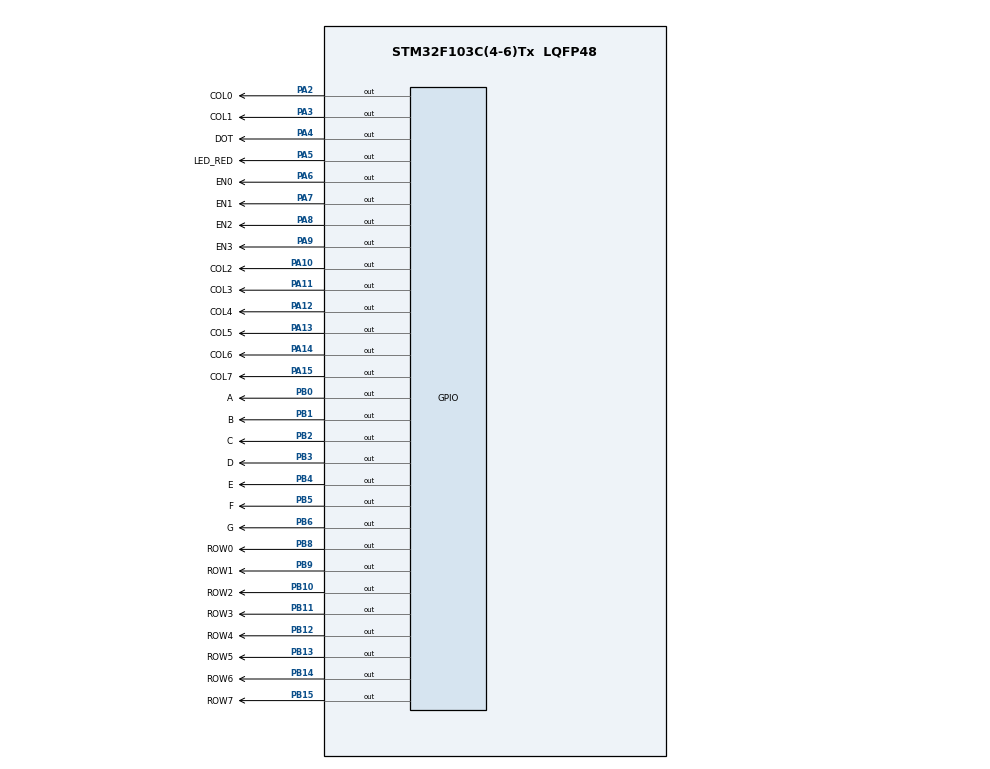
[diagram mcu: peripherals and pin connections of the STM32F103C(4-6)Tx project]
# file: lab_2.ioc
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Mcu.Family=STM32F1
Mcu.Name=STM32F103C(4-6)Tx
Mcu.Package=LQFP48
NVIC.PriorityGroup=NVIC_PRIORITYGROUP_4
NVIC.TIM2_IRQn=true\:0\:0\:false\:false\:true\:true\:true
PA10.GPIO_Label=COL2
PA10.Signal=GPIO_Output
PA11.GPIO_Label=COL3
PA11.Signal=GPIO_Output
PA12.GPIO_Label=COL4
PA12.Signal=GPIO_Output
PA13.GPIO_Label=COL5
PA13.Signal=GPIO_Output
PA14.GPIO_Label=COL6
PA14.Signal=GPIO_Output
PA15.GPIO_Label=COL7
PA15.Signal=GPIO_Output
PA2.GPIO_Label=COL0
PA2.Signal=GPIO_Output
PA3.GPIO_Label=COL1
PA3.Signal=GPIO_Output
PA4.GPIO_Label=DOT
PA4.Signal=GPIO_Output
PA5.GPIO_Label=LED_RED
PA5.Signal=GPIO_Output
PA6.GPIO_Label=EN0
PA6.Signal=GPIO_Output
PA7.GPIO_Label=EN1
PA7.Signal=GPIO_Output
PA8.GPIO_Label=EN2
PA8.Signal=GPIO_Output
PA9.GPIO_Label=EN3
PA9.Signal=GPIO_Output
PB0.GPIO_Label=A
PB0.Signal=GPIO_Output
PB1.GPIO_Label=B
PB1.Signal=GPIO_Output
PB10.GPIO_Label=ROW2
PB10.Signal=GPIO_Output
PB11.GPIO_Label=ROW3
PB11.Signal=GPIO_Output
PB12.GPIO_Label=ROW4
PB12.Signal=GPIO_Output
PB13.GPIO_Label=ROW5
PB13.Signal=GPIO_Output
PB14.GPIO_Label=ROW6
PB14.Signal=GPIO_Output
PB15.GPIO_Label=ROW7
PB15.Signal=GPIO_Output
PB2.GPIO_Label=C
PB2.Signal=GPIO_Output
PB3.GPIO_Label=D
PB3.Signal=GPIO_Output
PB4.GPIO_Label=E
PB4.Signal=GPIO_Output
PB5.GPIO_Label=F
PB5.Signal=GPIO_Output
PB6.GPIO_Label=G
PB6.Signal=GPIO_Output
PB8.GPIO_Label=ROW0
PB8.Signal=GPIO_Output
PB9.GPIO_Label=ROW1
PB9.Signal=GPIO_Output
ProjectManager.HeapSize=0x200
ProjectManager.StackSize=0x400
ProjectManager.TargetToolchain=STM32CubeIDE
RCC.APB1Freq_Value=8000000
RCC.APB2Freq_Value=8000000
TIM2.Period=9
TIM2.Prescaler=7999
VP_SYS_VS_ND.Mode=No_Debug
VP_TIM2_VS_ClockSourceINT.Mode=Internal
board=custom

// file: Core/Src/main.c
/* USER CODE BEGIN Header */
/**
  ******************************************************************************
  * @file           : main.c
  * @brief          : Main program body
  ******************************************************************************
  * @attention
  *
  * <h2><center>&copy; Copyright (c) 2023 STMicroelectronics.
  * All rights reserved.</center></h2>
  *
  * This software component is licensed by ST under BSD 3-Clause license,
  * the "License"; You may not use this file except in compliance with the
  * License. You may obtain a copy of the License at:
  *                        opensource.org/licenses/BSD-3-Clause
  *
  ******************************************************************************
  */
/* USER CODE END Header */
#include "main.h"

/* USER CODE BEGIN Includes */
#include "timer.h"
#include "led7seg.h"
/* USER CODE END Includes */

/* USER CODE BEGIN PD */

//#define DEBUG_LED

/* USER CODE END PD */

TIM_HandleTypeDef htim2;

void SystemClock_Config(void);
static void MX_GPIO_Init(void);
static void MX_TIM2_Init(void);

int main(void)
{

  /* MCU Configuration--------------------------------------------------------*/

  /* Reset of all peripherals, Initializes the Flash interface and the Systick. */
  HAL_Init();

  /* Configure the system clock */
  SystemClock_Config();

  /* Initialize all configured peripherals */
  MX_GPIO_Init();
  MX_TIM2_Init();
  /* USER CODE BEGIN 2 */
  HAL_TIM_Base_Start_IT(&htim2);
  /* USER CODE END 2 */

  /* Infinite loop */
  /* USER CODE BEGIN WHILE */
#ifdef DEBUG_LED
  HAL_GPIO_WritePin(LED_RED_GPIO_Port, LED_RED_Pin, RESET);
#endif
  display7SEG(10);
  set_timer(2, 0);
  int led = 0;
  HAL_GPIO_WritePin(EN0_GPIO_Port, EN0_Pin, SET);
  HAL_GPIO_WritePin(EN1_GPIO_Port, EN1_Pin, SET);
  while (1)
  {
#ifdef DEBUG_LED
	  if (get_flag(0))
	  {
		  set_timer(100, 0);
		  HAL_GPIO_TogglePin(LED_RED_GPIO_Port, LED_RED_Pin);
	  }
#endif
	  if (get_flag(0))
	  {
		  switch (led)
		  {
		  case 0:
			  HAL_GPIO_WritePin(EN0_GPIO_Port, EN0_Pin, RESET);
			  HAL_GPIO_WritePin(EN1_GPIO_Port, EN1_Pin, SET);
			  display7SEG(1);
			  set_timer(50, 0);
			  led = 1;
			  break;
		  case 1:
			  HAL_GPIO_WritePin(EN0_GPIO_Port, EN0_Pin, SET);
			  HAL_GPIO_WritePin(EN1_GPIO_Port, EN1_Pin, RESET);
			  display7SEG(2);
			  set_timer(50, 0);
			  led = 0;
			  break;
		  default:
			  HAL_GPIO_WritePin(EN0_GPIO_Port, EN0_Pin, SET);
			  HAL_GPIO_WritePin(EN1_GPIO_Port, EN1_Pin, SET);
			  set_timer(50, 0);
			  led = 0;
			  break;
		  }
	  }
    /* USER CODE END WHILE */

  }
}

void SystemClock_Config(void)
{
  RCC_OscInitTypeDef RCC_OscInitStruct = {0};
  RCC_ClkInitTypeDef RCC_ClkInitStruct = {0};

  /** Initializes the RCC Oscillators according to the specified parameters
  * in the RCC_OscInitTypeDef structure.
  */
  RCC_OscInitStruct.OscillatorType = RCC_OSCILLATORTYPE_HSI;
  RCC_OscInitStruct.HSIState = RCC_HSI_ON;
  RCC_OscInitStruct.HSICalibrationValue = RCC_HSICALIBRATION_DEFAULT;
  RCC_OscInitStruct.PLL.PLLState = RCC_PLL_NONE;
  if (HAL_RCC_OscConfig(&RCC_OscInitStruct) != HAL_OK)
  {
    Error_Handler();
  }
  /** Initializes the CPU, AHB and APB buses clocks
  */
  RCC_ClkInitStruct.ClockType = RCC_CLOCKTYPE_HCLK|RCC_CLOCKTYPE_SYSCLK
                              |RCC_CLOCKTYPE_PCLK1|RCC_CLOCKTYPE_PCLK2;
  RCC_ClkInitStruct.SYSCLKSource = RCC_SYSCLKSOURCE_HSI;
  RCC_ClkInitStruct.AHBCLKDivider = RCC_SYSCLK_DIV1;
  RCC_ClkInitStruct.APB1CLKDivider = RCC_HCLK_DIV1;
  RCC_ClkInitStruct.APB2CLKDivider = RCC_HCLK_DIV1;

  if (HAL_RCC_ClockConfig(&RCC_ClkInitStruct, FLASH_LATENCY_0) != HAL_OK)
  {
    Error_Handler();
  }
}

static void MX_TIM2_Init(void)
{

  TIM_ClockConfigTypeDef sClockSourceConfig = {0};
  TIM_MasterConfigTypeDef sMasterConfig = {0};

  htim2.Instance = TIM2;
  htim2.Init.Prescaler = 7999;
  htim2.Init.CounterMode = TIM_COUNTERMODE_UP;
  htim2.Init.Period = 9;
  htim2.Init.ClockDivision = TIM_CLOCKDIVISION_DIV1;
  htim2.Init.AutoReloadPreload = TIM_AUTORELOAD_PRELOAD_DISABLE;
  if (HAL_TIM_Base_Init(&htim2) != HAL_OK)
  {
    Error_Handler();
  }
  sClockSourceConfig.ClockSource = TIM_CLOCKSOURCE_INTERNAL;
  if (HAL_TIM_ConfigClockSource(&htim2, &sClockSourceConfig) != HAL_OK)
  {
    Error_Handler();
  }
  sMasterConfig.MasterOutputTrigger = TIM_TRGO_RESET;
  sMasterConfig.MasterSlaveMode = TIM_MASTERSLAVEMODE_DISABLE;
  if (HAL_TIMEx_MasterConfigSynchronization(&htim2, &sMasterConfig) != HAL_OK)
  {
    Error_Handler();
  }

}

static void MX_GPIO_Init(void)
{
  GPIO_InitTypeDef GPIO_InitStruct = {0};

  /* GPIO Ports Clock Enable */
  __HAL_RCC_GPIOA_CLK_ENABLE();
  __HAL_RCC_GPIOB_CLK_ENABLE();

  /*Configure GPIO pin Output Level */
  HAL_GPIO_WritePin(GPIOA, LED_RED_Pin|EN0_Pin|EN1_Pin, GPIO_PIN_RESET);

  /*Configure GPIO pin Output Level */
  HAL_GPIO_WritePin(GPIOB, A_Pin|B_Pin|C_Pin|D_Pin
                          |E_Pin|F_Pin|G_Pin, GPIO_PIN_RESET);

  /*Configure GPIO pins : LED_RED_Pin EN0_Pin EN1_Pin */
  GPIO_InitStruct.Pin = LED_RED_Pin|EN0_Pin|EN1_Pin;
  GPIO_InitStruct.Mode = GPIO_MODE_OUTPUT_PP;
  GPIO_InitStruct.Pull = GPIO_NOPULL;
  GPIO_InitStruct.Speed = GPIO_SPEED_FREQ_LOW;
  HAL_GPIO_Init(GPIOA, &GPIO_InitStruct);

  /*Configure GPIO pins : A_Pin B_Pin C_Pin D_Pin
                           E_Pin F_Pin G_Pin */
  GPIO_InitStruct.Pin = A_Pin|B_Pin|C_Pin|D_Pin
                          |E_Pin|F_Pin|G_Pin;
  GPIO_InitStruct.Mode = GPIO_MODE_OUTPUT_PP;
  GPIO_InitStruct.Pull = GPIO_NOPULL;
  GPIO_InitStruct.Speed = GPIO_SPEED_FREQ_LOW;
  HAL_GPIO_Init(GPIOB, &GPIO_InitStruct);

}

/* USER CODE BEGIN 4 */
void HAL_TIM_PeriodElapsedCallback(TIM_HandleTypeDef *htim)
{
	run_timer(0);
}
/* USER CODE END 4 */

void Error_Handler(void)
{
  __disable_irq();
  while (1)
  {
  }
}

/************************ (C) COPYRIGHT STMicroelectronics *****END OF FILE****/
